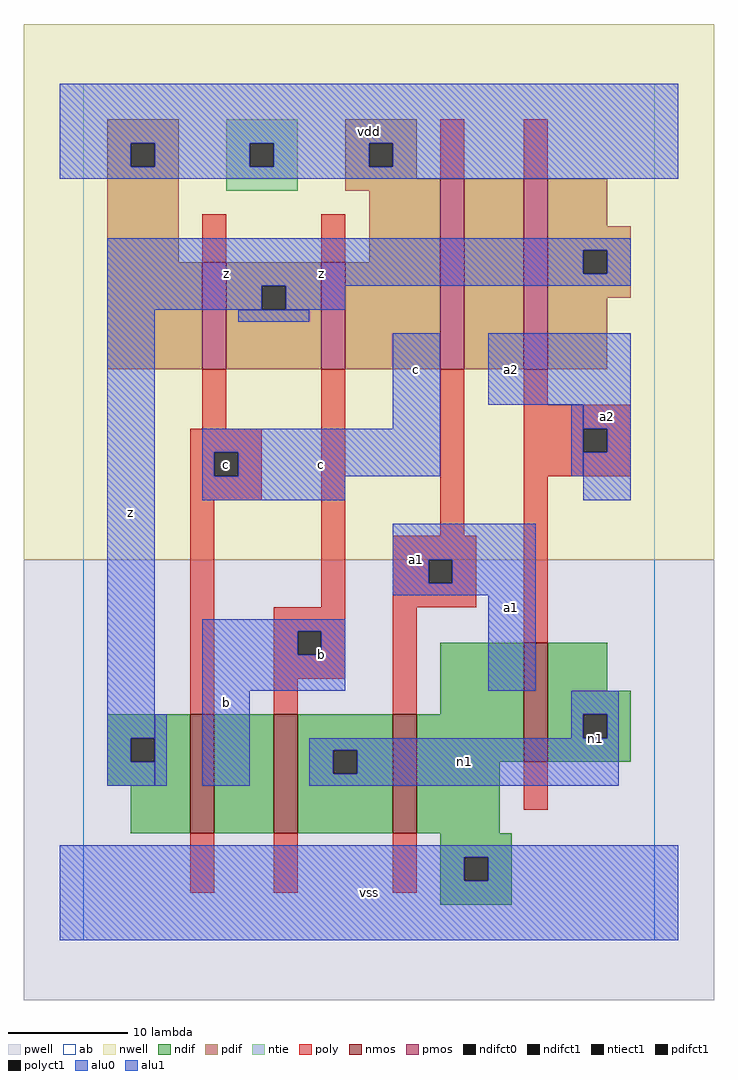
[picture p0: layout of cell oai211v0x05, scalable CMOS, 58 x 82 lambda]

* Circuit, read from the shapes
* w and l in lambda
.subckt oai211v0x05 a1 a2 b c n1 vdd vss z
M1 n2 c z VSUBS nfet w=10 l=2
M2 n1 b n2 VSUBS nfet w=10 l=2
M3 vss a1 n1 VSUBS nfet w=10 l=2
M4 n1 a2 vss VSUBS nfet w=10 l=2
M5 z c vdd vdd pfet w=9 l=2
M6 vdd b z vdd pfet w=9 l=2
M7 n3 a1 vdd vdd pfet w=16 l=2
M8 z a2 n3 vdd pfet w=16 l=2
.ends

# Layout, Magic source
magic
tech scmos
<< ab >>
rect 0 0 48 72
<< nwell >>
rect -5 32 53 77
<< pwell >>
rect -5 -5 53 32
<< poly >>
rect 30 64 32 69
rect 37 64 39 69
rect 10 57 12 61
rect 20 57 22 61
rect 10 43 12 48
rect 9 41 15 43
rect 9 39 11 41
rect 13 39 15 41
rect 9 37 15 39
rect 9 19 11 37
rect 20 28 22 48
rect 30 34 32 48
rect 37 45 39 48
rect 37 43 46 45
rect 37 41 42 43
rect 44 41 46 43
rect 37 39 46 41
rect 16 26 22 28
rect 16 24 18 26
rect 20 24 22 26
rect 16 22 22 24
rect 26 32 33 34
rect 26 30 29 32
rect 31 30 33 32
rect 26 28 33 30
rect 16 19 18 22
rect 26 19 28 28
rect 37 25 39 39
rect 37 11 39 15
rect 9 4 11 9
rect 16 4 18 9
rect 26 4 28 9
<< ndif >>
rect 30 19 37 25
rect 2 17 9 19
rect 2 15 4 17
rect 6 15 9 17
rect 2 13 9 15
rect 4 9 9 13
rect 11 9 16 19
rect 18 16 26 19
rect 18 14 21 16
rect 23 14 26 16
rect 18 9 26 14
rect 28 15 37 19
rect 39 21 44 25
rect 39 19 46 21
rect 39 17 42 19
rect 44 17 46 19
rect 39 15 46 17
rect 28 9 35 15
rect 30 7 36 9
rect 30 5 32 7
rect 34 5 36 7
rect 30 3 36 5
<< pdif >>
rect 2 67 8 69
rect 2 65 4 67
rect 6 65 8 67
rect 2 57 8 65
rect 22 67 28 69
rect 22 65 24 67
rect 26 65 28 67
rect 22 64 28 65
rect 22 63 30 64
rect 24 57 30 63
rect 2 48 10 57
rect 12 55 20 57
rect 12 53 15 55
rect 17 53 20 55
rect 12 48 20 53
rect 22 48 30 57
rect 32 48 37 64
rect 39 60 44 64
rect 39 58 46 60
rect 39 56 42 58
rect 44 56 46 58
rect 39 54 46 56
rect 39 48 44 54
<< alu1 >>
rect -2 67 50 72
rect -2 65 4 67
rect 6 65 14 67
rect 16 65 24 67
rect 26 65 50 67
rect -2 64 50 65
rect 2 58 46 59
rect 2 56 42 58
rect 44 56 46 58
rect 2 55 46 56
rect 2 53 15 55
rect 17 53 22 55
rect 2 17 6 53
rect 26 43 30 51
rect 34 45 46 51
rect 10 41 30 43
rect 10 39 11 41
rect 13 39 30 41
rect 42 43 46 45
rect 44 41 46 43
rect 10 37 22 39
rect 42 37 46 41
rect 26 32 38 35
rect 26 30 29 32
rect 31 30 38 32
rect 26 29 38 30
rect 10 26 22 27
rect 10 24 18 26
rect 20 24 22 26
rect 10 21 22 24
rect 34 21 38 29
rect 2 15 4 17
rect 2 13 6 15
rect 10 13 14 21
rect -2 7 50 8
rect -2 5 32 7
rect 34 5 50 7
rect -2 0 50 5
<< ntie >>
rect 12 67 18 69
rect 12 65 14 67
rect 16 65 18 67
rect 12 63 18 65
<< nmos >>
rect 9 9 11 19
rect 16 9 18 19
rect 26 9 28 19
rect 37 15 39 25
<< pmos >>
rect 10 48 12 57
rect 20 48 22 57
rect 30 48 32 64
rect 37 48 39 64
<< polyct1 >>
rect 11 39 13 41
rect 42 41 44 43
rect 18 24 20 26
rect 29 30 31 32
<< ndifct0 >>
rect 21 14 23 16
rect 42 17 44 19
<< ndifct1 >>
rect 4 15 6 17
rect 32 5 34 7
<< ntiect1 >>
rect 14 65 16 67
<< pdifct1 >>
rect 4 65 6 67
rect 24 65 26 67
rect 15 53 17 55
rect 42 56 44 58
<< alu0 >>
rect 13 52 19 53
rect 41 39 42 45
rect 6 13 7 19
rect 41 19 45 21
rect 41 17 42 19
rect 44 17 45 19
rect 19 16 45 17
rect 19 14 21 16
rect 23 14 45 16
rect 19 13 45 14
<< labels >>
rlabel alu0 32 15 32 15 6 n1
rlabel alu0 43 17 43 17 6 n1
rlabel alu1 4 36 4 36 6 z
rlabel alu1 12 20 12 20 6 b
rlabel alu1 20 24 20 24 6 b
rlabel alu1 20 40 20 40 6 c
rlabel polyct1 12 40 12 40 6 c
rlabel alu1 20 56 20 56 6 z
rlabel alu1 12 56 12 56 6 z
rlabel alu1 24 4 24 4 6 vss
rlabel alu1 28 32 28 32 6 a1
rlabel alu1 28 48 28 48 6 c
rlabel alu1 24 68 24 68 6 vdd
rlabel alu1 36 28 36 28 6 a1
rlabel alu1 36 48 36 48 6 a2
rlabel alu1 44 44 44 44 6 a2
<< end >>
